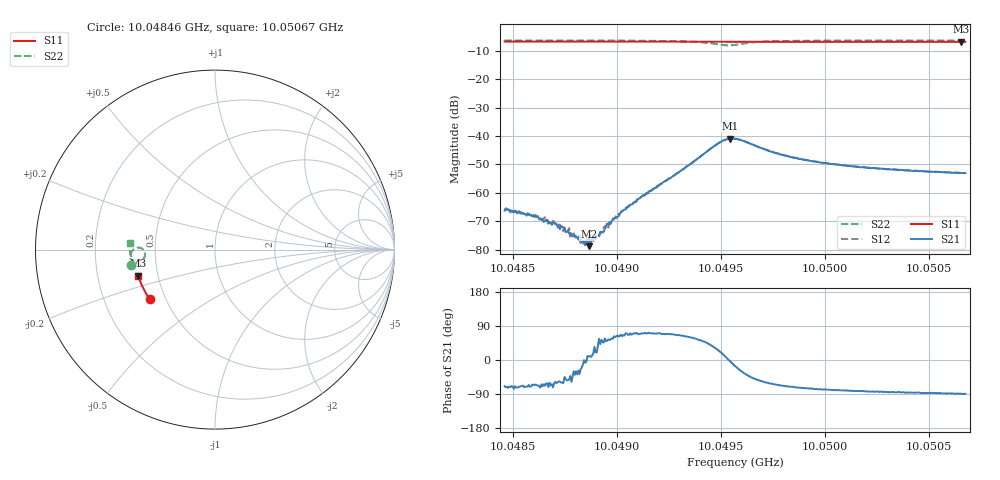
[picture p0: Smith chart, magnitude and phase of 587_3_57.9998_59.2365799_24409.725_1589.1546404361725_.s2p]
#  HZ  S  RI  R  50.00
! Rohde & Schwarz Vector Network Analyzer
! Rohde-Schwarz,ZNB20-2Port,1311601062101988,3.16
! Created: UTC 3/21/2024, 1:16:40 AM
! freq[Hz]  re:S11  im:S11  re:S21  im:S21  re:S12  im:S12  re:S22  im:S22
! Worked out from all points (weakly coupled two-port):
!   401 points, 10.04846 GHz to 10.05067 GHz, reference 50 ohm
!   highest |S21| = -40.91 dB at 10.04955 GHz (marker M1); lowest = -78.7 dB at 10.04886 GHz (marker M2)
!   lowest |S11| = -6.9 dB at 10.05065 GHz (marker M3), VSWR 2.65, Z = 19.3 - j7.09 ohm
!   |S11| at or under -10 dB: nowhere
!   |S22| runs from -8.2 to -6.4 dB; largest |S21 - S12| = 0.00069
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1.0048461e10  -0.3645 -0.2742  0.000176 -0.000456  0.000186 -0.000468  -0.4689 -0.0882
1.0048521e10  -0.3668 -0.2709  0.000126 -0.000418  0.000203 -0.000428  -0.4695 -0.0838
1.004861e10  -0.3703 -0.266  0.000173 -0.000367  0.000181 -0.000362  -0.4704 -0.0772
1.0048693e10  -0.3733 -0.2614  9.09e-05 -0.000283  0.000178 -0.000269  -0.4709 -0.071
1.0048748e10  -0.3752 -0.2583  0.000171 -0.00017  0.00016 -0.000189  -0.4713 -0.0666
1.0048759e10  -0.3756 -0.2577  0.000122 -0.000167  0.000147 -0.000153  -0.4714 -0.0658
1.0048831e10  -0.3781 -0.2537  0.000134 -4.83e-05  0.000147 -4.08e-05  -0.4718 -0.06
1.0048853e10  -0.3789 -0.2525  0.000156 -9.47e-06  0.000135 -9.15e-06  -0.4718 -0.0581
1.0048865e10  -0.3792 -0.2517  0.000114 1.92e-05  0.000136 1.81e-05  -0.4718 -0.0573
1.0048898e10  -0.3804 -0.2499  0.000143 5.38e-05  0.000153 6.9e-05  -0.4719 -0.0544
1.004892e10  -0.3813 -0.2487  0.000153 0.000138  0.00015 0.00012  -0.4721 -0.0524
1.0048942e10  -0.3821 -0.2476  0.000128 0.000195  0.000142 0.000215  -0.472 -0.0505
1.0049031e10  -0.3848 -0.2425  0.000206 0.000453  0.000142 0.000468  -0.4716 -0.0423
1.0049202e10  -0.3906 -0.2326  0.000446 0.00127  0.000396 0.00132  -0.4687 -0.0236
1.0049479e10  -0.3986 -0.2164  0.00621 0.00345  0.00596 0.00387  -0.4108 0.00753
1.0049545e10  -0.4002 -0.2129  0.00898 -0.000663  0.00901 -1.93e-05  -0.3899 -0.0315
1.0049567e10  -0.4008 -0.2117  0.00859 -0.00243  0.00879 -0.00188  -0.3959 -0.0468
1.0049789e10  -0.4078 -0.1989  0.00181 -0.00433  0.0021 -0.00425  -0.4644 -0.042
1.0049938e10  -0.4118 -0.19  0.000914 -0.00351  0.00108 -0.00347  -0.472 -0.0225
1.0050309e10  -0.4209 -0.1672  0.000218 -0.00262  0.000383 -0.00257  -0.4753 0.0114
1.0050652e10  -0.4281 -0.146  4.63e-05 -0.00224  0.00017 -0.00224  -0.4744 0.0373
1.0050674e10  -0.4285 -0.1447  2.94e-05 -0.00223  0.000151 -0.00224  -0.4742 0.0389
